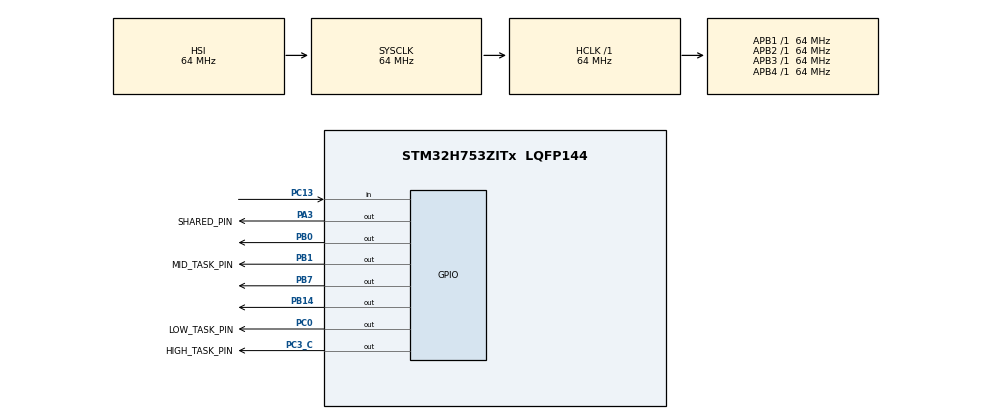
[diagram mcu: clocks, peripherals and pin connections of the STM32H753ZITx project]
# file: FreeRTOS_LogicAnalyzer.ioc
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CORTEX_M7.CPU_DCache=Disabled
CORTEX_M7.CPU_ICache=Disabled
CORTEX_M7.MPU_Control=__NULL
CORTEX_M7.default_mode_Activation=1
FREERTOS.Mutexes01=myMutex01,Dynamic,NULL,Available
FREERTOS.Queues01=myQueue01,5,uint32_t,0,Dynamic,NULL,NULL
FREERTOS.Tasks01=defaultTask,24,128,StartDefaultTask,Default,NULL,Dynamic,NULL,NULL;lowPrioTask,8,128,StartLowPrioTask,Default,NULL,Dynamic,NULL,NULL;midPrioTask,24,128,StartMidPrioTask,Default,NULL,Dynamic,NULL,NULL;highPrioTask,40,128,StartHighPrioTask,Default,NULL,Dynamic,NULL,NULL
Mcu.Family=STM32H7
Mcu.Name=STM32H753ZITx
Mcu.Package=LQFP144
NUCLEO-H753ZI.BUTTON=1
NUCLEO-H753ZI.LD1=true
NUCLEO-H753ZI.LD2=true
NUCLEO-H753ZI.LD3=true
NUCLEO-H753ZI.VCP=true
NVIC.EXTI15_10_IRQn=true\:5\:0\:false\:false\:true\:true\:false\:true\:true
NVIC.PriorityGroup=NVIC_PRIORITYGROUP_4
PA3.GPIO_Label=SHARED_PIN
PA3.Signal=GPIO_Output
PB0.Signal=GPIO_Output
PB1.GPIO_Label=MID_TASK_PIN
PB1.Signal=GPIO_Output
PB14.Signal=GPIO_Output
PB7.Signal=GPIO_Output
PC0.GPIO_Label=LOW_TASK_PIN
PC0.Signal=GPIO_Output
PC13.Signal=GPIO_Input
PC14-OSC32_IN\ (OSC32_IN).Signal=RCC_OSC32_IN
PC15-OSC32_OUT\ (OSC32_OUT).Signal=RCC_OSC32_OUT
PC3_C.GPIO_Label=HIGH_TASK_PIN
PC3_C.Signal=GPIO_Output
PD8.Signal=USART3_TX
PD9.Signal=USART3_RX
PH0-OSC_IN\ (PH0).Signal=RCC_OSC_IN
PH1-OSC_OUT\ (PH1).Signal=RCC_OSC_OUT
ProjectManager.HeapSize=0x200
ProjectManager.StackSize=0x400
ProjectManager.TargetToolchain=STM32CubeIDE
RCC.ADCFreq_Value=129000000
RCC.APB1Freq_Value=64000000
RCC.APB2Freq_Value=64000000
RCC.APB3Freq_Value=64000000
RCC.APB4Freq_Value=64000000
RCC.CortexFreq_Value=64000000
RCC.DIVM1=1
RCC.DIVN1=24
RCC.DIVQ1=4
RCC.HCLKFreq_Value=64000000
RCC.HSE_VALUE=8000000
RCC.PLLFRACN=0
RCC.PWR_Regulator_Voltage_Scale=PWR_REGULATOR_VOLTAGE_SCALE2
RCC.SYSCLKFreq_VALUE=64000000
RCC.USBFreq_Value=384000000
VP_FREERTOS_VS_CMSIS_V2.Mode=CMSIS_V2
VP_MEMORYMAP_VS_MEMORYMAP.Mode=CurAppReg
VP_NUCLEO-H753ZI_VS_BSP_COMMON.Mode=COMMON
board=NUCLEO-H753ZI

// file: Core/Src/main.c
/* USER CODE BEGIN Header */
/**
  ******************************************************************************
  * @file           : main.c
  * @brief          : Main program body
  ******************************************************************************
  * @attention
  *
  * Copyright (c) 2025 STMicroelectronics.
  * All rights reserved.
  *
  * This software is licensed under terms that can be found in the LICENSE file
  * in the root directory of this software component.
  * If no LICENSE file comes with this software, it is provided AS-IS.
  *
  ******************************************************************************
  */
/* USER CODE END Header */
#include "main.h"
#include "cmsis_os.h"

COM_InitTypeDef BspCOMInit;

/* Definitions for defaultTask */
osThreadId_t defaultTaskHandle;
const osThreadAttr_t defaultTask_attributes = {
  .name = "defaultTask",
  .stack_size = 128 * 4,
  .priority = (osPriority_t) osPriorityNormal,
};
/* Definitions for lowPrioTask */
osThreadId_t lowPrioTaskHandle;
const osThreadAttr_t lowPrioTask_attributes = {
  .name = "lowPrioTask",
  .stack_size = 128 * 4,
  .priority = (osPriority_t) osPriorityLow,
};
/* Definitions for midPrioTask */
osThreadId_t midPrioTaskHandle;
const osThreadAttr_t midPrioTask_attributes = {
  .name = "midPrioTask",
  .stack_size = 128 * 4,
  .priority = (osPriority_t) osPriorityNormal,
};
/* Definitions for highPrioTask */
osThreadId_t highPrioTaskHandle;
const osThreadAttr_t highPrioTask_attributes = {
  .name = "highPrioTask",
  .stack_size = 128 * 4,
  .priority = (osPriority_t) osPriorityHigh,
};
/* Definitions for myQueue01 */
osMessageQueueId_t myQueue01Handle;
const osMessageQueueAttr_t myQueue01_attributes = {
  .name = "myQueue01"
};
/* Definitions for myMutex01 */
osMutexId_t myMutex01Handle;
const osMutexAttr_t myMutex01_attributes = {
  .name = "myMutex01",
		  .attr_bits = osMutexPrioInherit
};

void SystemClock_Config(void);
static void MX_GPIO_Init(void);
void StartDefaultTask(void *argument);
void StartLowPrioTask(void *argument);
void StartMidPrioTask(void *argument);
void StartHighPrioTask(void *argument);

int main(void)
{

  /* MCU Configuration--------------------------------------------------------*/

  /* Reset of all peripherals, Initializes the Flash interface and the Systick. */
  HAL_Init();

  /* Configure the system clock */
  SystemClock_Config();

  /* Initialize all configured peripherals */
  MX_GPIO_Init();

  /* Init scheduler */
  osKernelInitialize();
  /* Create the mutex(es) */
  /* creation of myMutex01 */
  myMutex01Handle = osMutexNew(&myMutex01_attributes);

  /* Create the queue(s) */
  /* creation of myQueue01 */
  myQueue01Handle = osMessageQueueNew (5, sizeof(uint32_t), &myQueue01_attributes);

  /* Create the thread(s) */
  /* creation of defaultTask */
  defaultTaskHandle = osThreadNew(StartDefaultTask, NULL, &defaultTask_attributes);

  /* creation of lowPrioTask */
  lowPrioTaskHandle = osThreadNew(StartLowPrioTask, NULL, &lowPrioTask_attributes);

  /* creation of midPrioTask */
  midPrioTaskHandle = osThreadNew(StartMidPrioTask, NULL, &midPrioTask_attributes);

  /* creation of highPrioTask */
  highPrioTaskHandle = osThreadNew(StartHighPrioTask, NULL, &highPrioTask_attributes);

  /* Initialize leds */
  BSP_LED_Init(LED_GREEN);
  BSP_LED_Init(LED_BLUE);
  BSP_LED_Init(LED_RED);

  /* Initialize USER push-button, will be used to trigger an interrupt each time it's pressed.*/
  BSP_PB_Init(BUTTON_USER, BUTTON_MODE_EXTI);

  /* Initialize COM1 port (115200, 8 bits (7-bit data + 1 stop bit), no parity */
  BspCOMInit.BaudRate   = 115200;
  BspCOMInit.WordLength = COM_WORDLENGTH_8B;
  BspCOMInit.StopBits   = COM_STOPBITS_1;
  BspCOMInit.Parity     = COM_PARITY_NONE;
  BspCOMInit.HwFlowCtl  = COM_HWCONTROL_NONE;
  if (BSP_COM_Init(COM1, &BspCOMInit) != BSP_ERROR_NONE)
  {
    Error_Handler();
  }

  /* Start scheduler */
  osKernelStart();

  /* We should never get here as control is now taken by the scheduler */

  /* Infinite loop */
  while (1)
  {

  }
}

void SystemClock_Config(void)
{
  RCC_OscInitTypeDef RCC_OscInitStruct = {0};
  RCC_ClkInitTypeDef RCC_ClkInitStruct = {0};

  /** Supply configuration update enable
  */
  HAL_PWREx_ConfigSupply(PWR_LDO_SUPPLY);

  /** Configure the main internal regulator output voltage
  */
  __HAL_PWR_VOLTAGESCALING_CONFIG(PWR_REGULATOR_VOLTAGE_SCALE2);

  while(!__HAL_PWR_GET_FLAG(PWR_FLAG_VOSRDY)) {}

  /** Initializes the RCC Oscillators according to the specified parameters
  * in the RCC_OscInitTypeDef structure.
  */
  RCC_OscInitStruct.OscillatorType = RCC_OSCILLATORTYPE_HSI;
  RCC_OscInitStruct.HSIState = RCC_HSI_DIV1;
  RCC_OscInitStruct.HSICalibrationValue = RCC_HSICALIBRATION_DEFAULT;
  RCC_OscInitStruct.PLL.PLLState = RCC_PLL_NONE;
  if (HAL_RCC_OscConfig(&RCC_OscInitStruct) != HAL_OK)
  {
    Error_Handler();
  }

  /** Initializes the CPU, AHB and APB buses clocks
  */
  RCC_ClkInitStruct.ClockType = RCC_CLOCKTYPE_HCLK|RCC_CLOCKTYPE_SYSCLK
                              |RCC_CLOCKTYPE_PCLK1|RCC_CLOCKTYPE_PCLK2
                              |RCC_CLOCKTYPE_D3PCLK1|RCC_CLOCKTYPE_D1PCLK1;
  RCC_ClkInitStruct.SYSCLKSource = RCC_SYSCLKSOURCE_HSI;
  RCC_ClkInitStruct.SYSCLKDivider = RCC_SYSCLK_DIV1;
  RCC_ClkInitStruct.AHBCLKDivider = RCC_HCLK_DIV1;
  RCC_ClkInitStruct.APB3CLKDivider = RCC_APB3_DIV1;
  RCC_ClkInitStruct.APB1CLKDivider = RCC_APB1_DIV1;
  RCC_ClkInitStruct.APB2CLKDivider = RCC_APB2_DIV1;
  RCC_ClkInitStruct.APB4CLKDivider = RCC_APB4_DIV1;

  if (HAL_RCC_ClockConfig(&RCC_ClkInitStruct, FLASH_LATENCY_1) != HAL_OK)
  {
    Error_Handler();
  }
}

static void MX_GPIO_Init(void)
{
  GPIO_InitTypeDef GPIO_InitStruct = {0};

  /* GPIO Ports Clock Enable */
  __HAL_RCC_GPIOC_CLK_ENABLE();
  __HAL_RCC_GPIOH_CLK_ENABLE();
  __HAL_RCC_GPIOA_CLK_ENABLE();
  __HAL_RCC_GPIOB_CLK_ENABLE();

  /*Configure GPIO pin Output Level */
  HAL_GPIO_WritePin(GPIOC, LOW_TASK_PIN_Pin|HIGH_TASK_PIN_Pin, GPIO_PIN_RESET);

  /*Configure GPIO pin Output Level */
  HAL_GPIO_WritePin(SHARED_PIN_GPIO_Port, SHARED_PIN_Pin, GPIO_PIN_RESET);

  /*Configure GPIO pin Output Level */
  HAL_GPIO_WritePin(MID_TASK_PIN_GPIO_Port, MID_TASK_PIN_Pin, GPIO_PIN_RESET);

  /*Configure GPIO pins : LOW_TASK_PIN_Pin HIGH_TASK_PIN_Pin */
  GPIO_InitStruct.Pin = LOW_TASK_PIN_Pin|HIGH_TASK_PIN_Pin;
  GPIO_InitStruct.Mode = GPIO_MODE_OUTPUT_PP;
  GPIO_InitStruct.Pull = GPIO_NOPULL;
  GPIO_InitStruct.Speed = GPIO_SPEED_FREQ_LOW;
  HAL_GPIO_Init(GPIOC, &GPIO_InitStruct);

  /*Configure GPIO pin : SHARED_PIN_Pin */
  GPIO_InitStruct.Pin = SHARED_PIN_Pin;
  GPIO_InitStruct.Mode = GPIO_MODE_OUTPUT_PP;
  GPIO_InitStruct.Pull = GPIO_NOPULL;
  GPIO_InitStruct.Speed = GPIO_SPEED_FREQ_LOW;
  HAL_GPIO_Init(SHARED_PIN_GPIO_Port, &GPIO_InitStruct);

  /*Configure GPIO pin : MID_TASK_PIN_Pin */
  GPIO_InitStruct.Pin = MID_TASK_PIN_Pin;
  GPIO_InitStruct.Mode = GPIO_MODE_OUTPUT_PP;
  GPIO_InitStruct.Pull = GPIO_NOPULL;
  GPIO_InitStruct.Speed = GPIO_SPEED_FREQ_LOW;
  HAL_GPIO_Init(MID_TASK_PIN_GPIO_Port, &GPIO_InitStruct);

  /*AnalogSwitch Config */
  HAL_SYSCFG_AnalogSwitchConfig(SYSCFG_SWITCH_PC3, SYSCFG_SWITCH_PC3_CLOSE);

}

void StartDefaultTask(void *argument)
{
  for(;;)
  {
    osDelay(1);
  }
}

void StartLowPrioTask(void *argument)
{
  /* USER CODE BEGIN StartLowPrioTask */
  /* Infinite loop */

  for(;;)
  {

	  osMutexAcquire(myMutex01Handle, osWaitForever);

	  HAL_GPIO_WritePin(LOW_TASK_PIN_GPIO_Port, LOW_TASK_PIN_Pin, 1);

	  HAL_GPIO_WritePin(SHARED_PIN_GPIO_Port, SHARED_PIN_Pin, 1);
	  osDelay(250);
	  HAL_GPIO_WritePin(SHARED_PIN_GPIO_Port, SHARED_PIN_Pin, 0);
	  osDelay(250);

	  HAL_GPIO_WritePin(LOW_TASK_PIN_GPIO_Port, LOW_TASK_PIN_Pin, 0);
	  osMutexRelease(myMutex01Handle);

	  osDelay(10);

  }
  /* USER CODE END StartLowPrioTask */
}

void StartMidPrioTask(void *argument)
{
  /* USER CODE BEGIN StartMidPrioTask */
  /* Infinite loop */
  for(;;)
  {

	  HAL_GPIO_TogglePin(MID_TASK_PIN_GPIO_Port, MID_TASK_PIN_Pin);
	  osDelay(1);

  }
  /* USER CODE END StartMidPrioTask */
}

void StartHighPrioTask(void *argument)
{
  /* USER CODE BEGIN StartHighPrioTask */

  /* Infinite loop */

  for(;;)
  {

	 osDelay(1000);

	 osMutexAcquire(myMutex01Handle, osWaitForever);

	 HAL_GPIO_WritePin(HIGH_TASK_PIN_GPIO_Port, HIGH_TASK_PIN_Pin, 1);

	 HAL_GPIO_WritePin(SHARED_PIN_GPIO_Port, SHARED_PIN_Pin, 1);
	 osDelay(50);
	 HAL_GPIO_WritePin(SHARED_PIN_GPIO_Port, SHARED_PIN_Pin, 0);
	 osDelay(50);

	 HAL_GPIO_WritePin(HIGH_TASK_PIN_GPIO_Port, HIGH_TASK_PIN_Pin, 0);
	 osMutexRelease(myMutex01Handle);

  }
  /* USER CODE END StartHighPrioTask */
}

void Error_Handler(void)
{
  __disable_irq();
  while (1)
  {
  }
}
